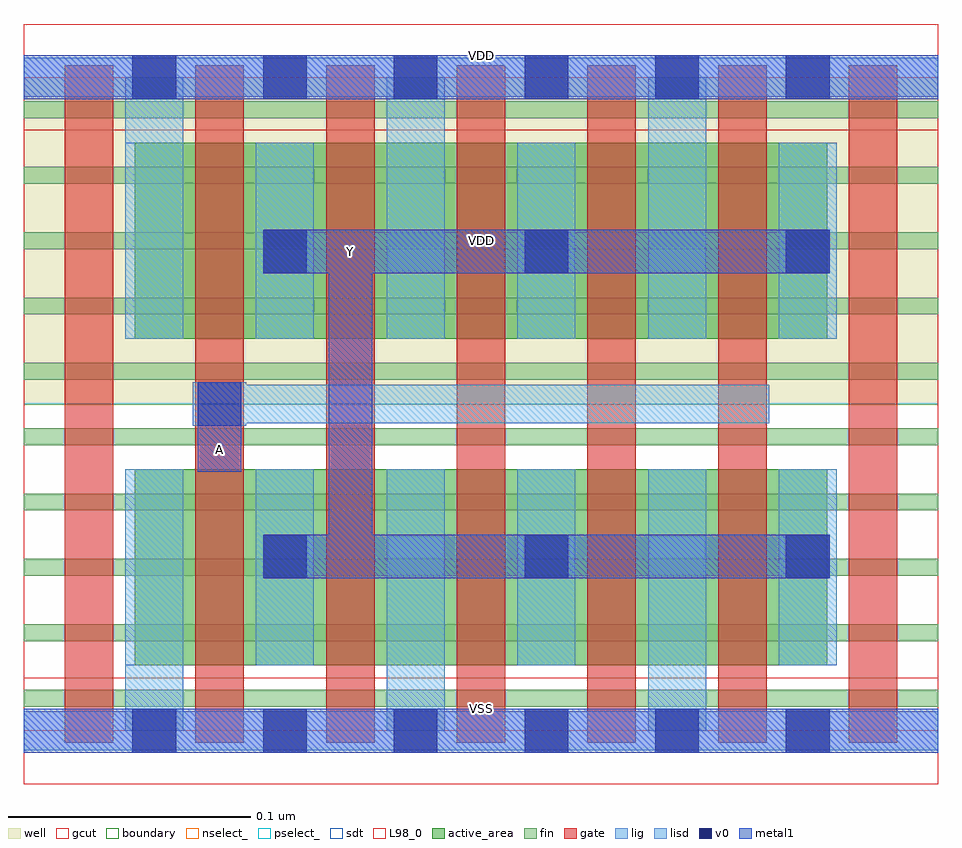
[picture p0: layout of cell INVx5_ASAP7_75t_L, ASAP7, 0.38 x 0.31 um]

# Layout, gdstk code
import gdstk
lib = gdstk.Library(unit=1e-6, precision=2.5e-10)
def R(c, l, rs):  # rectangles x0, y0, x1, y1
    for r in rs: c.add(gdstk.rectangle(r[:2], r[2:], *l))
def A(c, l, x, y, w, h, nx, ny, dx, dy):  # array of equal rectangles
    R(c, l, [(x+i*dx, y+j*dy, x+i*dx+w, y+j*dy+h) for i in range(nx) for j in range(ny)])
def P(c, l, *ps):  # polygons
    for p in ps: c.add(gdstk.Polygon(p, *l))
well = (1, 0)
fin = (2, 0)
gate = (7, 0)
gcut = (10, 0)
active_area = (11, 0)
nselect_ = (12, 0)
pselect_ = (13, 0)
lig = (16, 0)
lisd = (17, 0)
v0 = (18, 0)
metal1 = (19, 0)
sdt = (88, 0)
L98_0 = (98, 0)
boundary = (100, 0)

invx5_asap7_75t_l = lib.new_cell('INVx5_ASAP7_75t_L')
R(invx5_asap7_75t_l, well, [(0,0.135,0.378,0.27)])
A(invx5_asap7_75t_l, fin, 0, 0.01, 0.378, 0.007, 1, 10, 0, 0.027)
A(invx5_asap7_75t_l, gate, 0.017, -0.005, 0.02, 0.28, 7, 1, 0.054, 0)
R(invx5_asap7_75t_l, gcut, [(0,-0.022,0.378,0.022), (0,0.248,0.378,0.292)])
R(invx5_asap7_75t_l, active_area, [(0.046,0.027,0.332,0.108), (0.046,0.162,0.332,0.243)])
R(invx5_asap7_75t_l, nselect_, [(0,0,0.378,0.135)])
R(invx5_asap7_75t_l, pselect_, [(0,0.135,0.378,0.27)])
R(invx5_asap7_75t_l, lig, [(0,-0.008,0.378,0.008), (0.07,0.126,0.092,0.144), (0.07,0.127,0.308,0.143), (0,0.262,0.378,0.278)])
A(invx5_asap7_75t_l, lisd, 0.096, 0.027, 0.024, 0.081, 3, 2, 0.108, 0.135)
R(invx5_asap7_75t_l, lisd, [(0.042,0,0.066,0.108), (0.042,0,0.066,0.108), (0.15,0,0.174,0.108), (0.15,0,0.174,0.108), (0.258,0,0.282,0.108), (0.258,0,0.282,0.108), (0.042,0.162,0.066,0.27), (0.042,0.162,0.066,0.27), (0.15,0.162,0.174,0.27), (0.15,0.162,0.174,0.27), (0.258,0.162,0.282,0.27), (0.258,0.162,0.282,0.27)])
A(invx5_asap7_75t_l, v0, 0.045, -0.009, 0.018, 0.018, 6, 2, 0.054, 0.27)
A(invx5_asap7_75t_l, v0, 0.099, 0.063, 0.018, 0.018, 3, 2, 0.108, 0.126)
R(invx5_asap7_75t_l, v0, [(0.072,0.126,0.09,0.144)])
A(invx5_asap7_75t_l, metal1, 0.099, 0.063, 0.018, 0.018, 3, 2, 0.108, 0.126)
R(invx5_asap7_75t_l, metal1, [(0,-0.009,0.378,0.009), (0.072,0.107,0.09,0.144), (0.072,0.126,0.09,0.144), (0,0.261,0.378,0.279)])
P(invx5_asap7_75t_l, metal1, [(0.333,0.207),(0.099,0.207),(0.099,0.189),(0.126,0.189),(0.126,0.081),(0.099,0.081),(0.099,0.063),(0.333,0.063),(0.333,0.081),(0.144,0.081),(0.144,0.189),(0.333,0.189)])
A(invx5_asap7_75t_l, sdt, 0.042, 0.027, 0.024, 0.081, 3, 2, 0.054, 0.135)
A(invx5_asap7_75t_l, sdt, 0.15, 0.027, 0.024, 0.081, 3, 2, 0.054, 0.135)
R(invx5_asap7_75t_l, sdt, [(0.042,0.027,0.066,0.108), (0.258,0.027,0.282,0.108), (0.312,0.027,0.336,0.108), (0.042,0.162,0.066,0.243), (0.258,0.162,0.282,0.243), (0.312,0.162,0.336,0.243)])
R(invx5_asap7_75t_l, L98_0, [(0,0,0.378,0.27)])
R(invx5_asap7_75t_l, boundary, [(0,0,0.378,0.27)])
invx5_asap7_75t_l.add(gdstk.Label('VDD', (0.189,0.2025), layer=1, texttype=251))
invx5_asap7_75t_l.add(gdstk.Label('VSS', (0.189,-0.0675), layer=3, texttype=251))
invx5_asap7_75t_l.add(gdstk.Label('VSS', (0.189,0.009), layer=19, texttype=251))
invx5_asap7_75t_l.add(gdstk.Label('VDD', (0.189,0.279), layer=19, texttype=251))
invx5_asap7_75t_l.add(gdstk.Label('A', (0.081,0.116), layer=19, texttype=251))
invx5_asap7_75t_l.add(gdstk.Label('Y', (0.135,0.198), layer=19, texttype=251))

lib.write_gds('INVx5_ASAP7_75t_L.gds')
